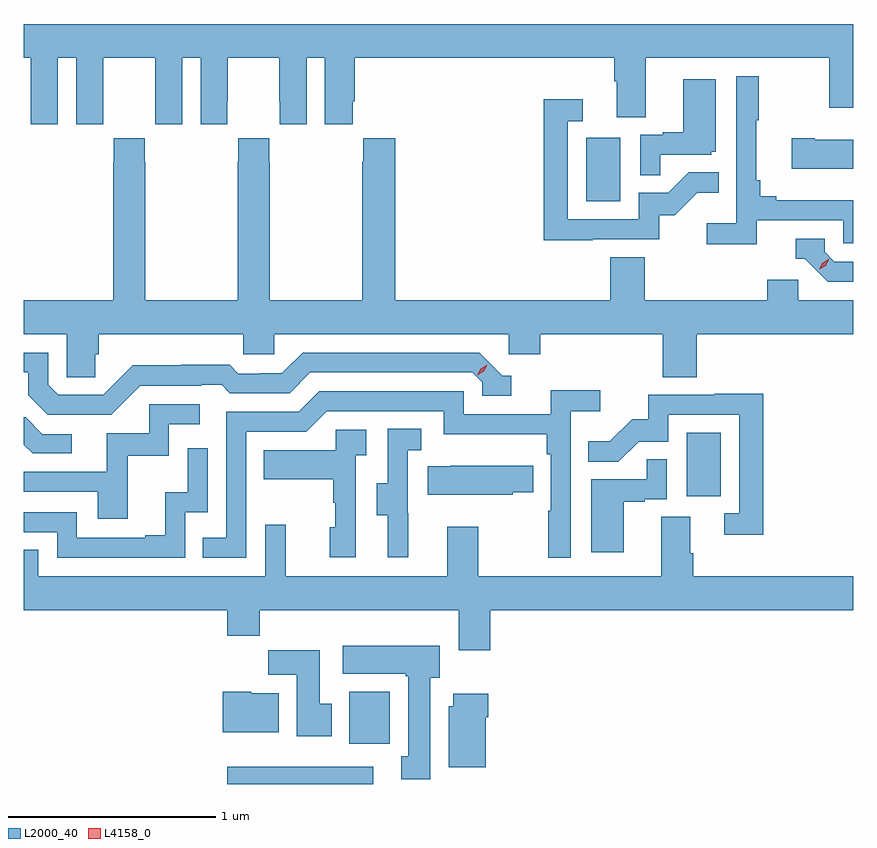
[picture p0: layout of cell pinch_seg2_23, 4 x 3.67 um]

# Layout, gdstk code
import gdstk
lib = gdstk.Library(unit=1e-6, precision=1e-09)
def R(c, l, rs):  # rectangles x0, y0, x1, y1
    for r in rs: c.add(gdstk.rectangle(r[:2], r[2:], *l))
def P(c, l, *ps):  # polygons
    for p in ps: c.add(gdstk.Polygon(p, *l))
L2000_40 = (2000, 40)
L4158_0 = (4158, 0)

pinch_seg2_23 = lib.new_cell('pinch_seg2_23')
R(pinch_seg2_23, L2000_40, [(1082.225,653.458,1082.929,653.542), (1082.813,653.652,1083.009,653.902), (1084.442,654.846,1084.606,655.153), (1083.956,656.268,1084.12,656.575)])
P(pinch_seg2_23, L2000_40, [(1081.408,656.96),(1081.496,656.96),(1081.496,656.64),(1081.626,656.64),(1081.626,656.752),(1081.627,656.752),(1081.627,656.96),(1081.877,656.96),(1081.877,656.752),(1081.878,656.752),(1081.878,656.64),(1082.008,656.64),(1082.008,656.96),(1082.096,656.96),(1082.096,656.64),(1082.226,656.64),(1082.226,656.752),(1082.227,656.752),(1082.227,656.96),(1082.477,656.96),(1082.477,656.752),(1082.478,656.752),(1082.478,656.64),(1082.608,656.64),(1082.608,656.96),(1082.696,656.96),(1082.696,656.64),(1082.83,656.64),(1082.83,656.752),(1082.84,656.752),(1082.84,656.96),(1084.091,656.96),(1084.091,656.848),(1084.103,656.848),(1084.103,656.674),(1084.243,656.674),(1084.243,656.96),(1085.128,656.96),(1085.128,656.721),(1085.244,656.721),(1085.244,657.124),(1081.244,657.124),(1081.244,656.96),(1081.277,656.96),(1081.277,656.752),(1081.278,656.752),(1081.278,656.64),(1081.408,656.64)],
  [(1084.778,656.178),(1085.196,656.178),(1085.196,656.067),(1085.244,656.067),(1085.244,656.275),(1084.873,656.275),(1084.873,656.294),(1084.796,656.294),(1084.796,656.371),(1084.777,656.371),(1084.777,656.659),(1084.789,656.659),(1084.789,656.872),(1084.68,656.872),(1084.68,656.164),(1084.539,656.164),(1084.539,656.062),(1084.778,656.062)],
  [(1084.313,656.493),(1084.56,656.493),(1084.56,656.508),(1084.582,656.508),(1084.582,656.857),(1084.424,656.857),(1084.424,656.602),(1084.325,656.602),(1084.325,656.589),(1084.218,656.589),(1084.218,656.395),(1084.313,656.395)],
  [(1083.989,656.085),(1084.308,656.085),(1084.308,656.202),(1084.384,656.202),(1084.491,656.309),(1084.595,656.309),(1084.595,656.408),(1084.451,656.408),(1084.353,656.31),(1084.209,656.31),(1084.209,656.181),(1083.867,656.181),(1083.867,656.655),(1083.94,656.655),(1083.94,656.761),(1083.751,656.761),(1083.751,656.08),(1083.989,656.08)],
  [(1085.244,656.566),(1085.059,656.566),(1085.059,656.574),(1084.947,656.574),(1084.947,656.426),(1085.244,656.426)],
  [(1081.589,655.53),(1081.604,655.53),(1081.604,655.628),(1082.301,655.628),(1082.301,655.53),(1082.451,655.53),(1082.451,655.628),(1083.582,655.628),(1083.582,655.53),(1083.734,655.53),(1083.734,655.628),(1084.325,655.628),(1084.325,655.42),(1084.49,655.42),(1084.49,655.628),(1085.244,655.628),(1085.244,655.792),(1084.98,655.792),(1084.98,655.89),(1084.829,655.89),(1084.829,655.792),(1084.238,655.792),(1084.238,656),(1084.073,656),(1084.073,655.792),(1083.035,655.792),(1083.035,656.572),(1082.881,656.572),(1082.881,656.459),(1082.875,656.459),(1082.875,655.792),(1082.43,655.792),(1082.43,656.459),(1082.427,656.459),(1082.427,656.572),(1082.277,656.572),(1082.277,656.459),(1082.275,656.459),(1082.275,655.792),(1081.83,655.792),(1081.83,656.459),(1081.827,656.459),(1081.827,656.572),(1081.677,656.572),(1081.677,656.459),(1081.675,656.459),(1081.675,655.792),(1081.244,655.792),(1081.244,655.628),(1081.452,655.628),(1081.452,655.42),(1081.589,655.42)],
  [(1085.244,655.977),(1085.154,655.977),(1085.106,656.025),(1085.106,656.088),(1084.967,656.088),(1084.967,655.992),(1085.01,655.992),(1085.121,655.881),(1085.244,655.881)],
  [(1081.806,655.38),(1082.099,655.38),(1082.099,655.383),(1082.198,655.383),(1082.237,655.344),(1082.526,655.344),(1082.625,655.443),(1083.408,655.443),(1083.456,655.395),(1083.456,655.332),(1083.595,655.332),(1083.595,655.428),(1083.552,655.428),(1083.441,655.539),(1082.588,655.539),(1082.489,655.44),(1082.382,655.44),(1082.382,655.437),(1082.279,655.437),(1082.237,655.48),(1082.004,655.48),(1082.004,655.477),(1081.768,655.477),(1081.626,655.335),(1081.41,655.335),(1081.362,655.383),(1081.362,655.539),(1081.244,655.539),(1081.244,655.443),(1081.265,655.443),(1081.265,655.333),(1081.359,655.239),(1081.665,655.239)],
  [(1082.316,655.158),(1082.607,655.158),(1082.706,655.257),(1083.27,655.257),(1083.27,655.145),(1083.766,655.145),(1083.766,655.049),(1083.786,655.049),(1083.786,654.776),(1083.774,654.776),(1083.774,654.549),(1083.882,654.549),(1083.882,655.256),(1084.024,655.256),(1084.024,655.358),(1083.785,655.358),(1083.785,655.242),(1083.366,655.242),(1083.366,655.353),(1082.669,655.353),(1082.57,655.254),(1082.22,655.254),(1082.22,654.645),(1082.107,654.645),(1082.107,654.549),(1082.316,654.549)],
  [(1084.811,655.34),(1084.573,655.34),(1084.573,655.335),(1084.255,655.335),(1084.255,655.218),(1084.178,655.218),(1084.071,655.111),(1083.967,655.111),(1083.967,655.012),(1084.111,655.012),(1084.209,655.11),(1084.353,655.11),(1084.353,655.239),(1084.695,655.239),(1084.695,654.765),(1084.623,654.765),(1084.623,654.66),(1084.811,654.66)],
  [(1081.745,655.041),(1081.944,655.041),(1081.944,655.194),(1082.092,655.194),(1082.092,655.29),(1081.848,655.29),(1081.848,655.149),(1081.643,655.149),(1081.643,654.963),(1081.244,654.963),(1081.244,654.867),(1081.601,654.867),(1081.601,654.738),(1081.745,654.738)],
  [(1081.474,655.146),(1081.332,655.146),(1081.252,655.226),(1081.244,655.226),(1081.244,655.095),(1081.286,655.053),(1081.474,655.053)],
  [(1083.098,654.765),(1083.096,654.765),(1083.096,655.069),(1083.16,655.069),(1083.16,655.172),(1083,655.172),(1083,654.909),(1082.945,654.909),(1082.945,654.754),(1082.999,654.754),(1082.999,654.552),(1083.098,654.552)],
  [(1082.844,655.043),(1082.896,655.043),(1082.896,655.167),(1082.748,655.167),(1082.748,655.069),(1082.401,655.069),(1082.401,654.929),(1082.736,654.929),(1082.736,654.815),(1082.746,654.815),(1082.746,654.696),(1082.72,654.696),(1082.72,654.552),(1082.844,654.552)],
  [(1082.022,654.768),(1082.13,654.768),(1082.13,655.078),(1082.034,655.078),(1082.034,654.866),(1081.925,654.866),(1081.925,654.658),(1081.829,654.658),(1081.829,654.645),(1081.5,654.645),(1081.5,654.768),(1081.244,654.768),(1081.244,654.672),(1081.404,654.672),(1081.404,654.549),(1082.022,654.549)],
  [(1084.138,654.819),(1084.238,654.819),(1084.238,654.831),(1084.344,654.831),(1084.344,655.025),(1084.249,655.025),(1084.249,654.927),(1083.98,654.927),(1083.98,654.576),(1084.138,654.576)],
  [(1083.603,654.865),(1083.701,654.865),(1083.701,654.994),(1083.301,654.994),(1083.301,654.991),(1083.193,654.991),(1083.193,654.854),(1083.603,654.854)],
  [(1083.494,654.296),(1085.244,654.296),(1085.244,654.46),(1084.472,654.46),(1084.472,654.572),(1084.459,654.572),(1084.459,654.746),(1084.319,654.746),(1084.319,654.46),(1083.435,654.46),(1083.435,654.7),(1083.287,654.7),(1083.287,654.46),(1082.507,654.46),(1082.507,654.709),(1082.409,654.709),(1082.409,654.46),(1081.314,654.46),(1081.314,654.587),(1081.244,654.587),(1081.244,654.296),(1082.225,654.296),(1082.225,654.172),(1082.381,654.172),(1082.381,654.296),(1083.341,654.296),(1083.341,654.102),(1083.494,654.102)],
  [(1083.205,653.97),(1083.25,653.97),(1083.25,654.124),(1082.781,654.124),(1082.781,653.99),(1083.085,653.99),(1083.085,653.977),(1083.098,653.977),(1083.098,653.593),(1083.065,653.593),(1083.065,653.481),(1083.205,653.481)],
  [(1082.728,653.844),(1082.671,653.844),(1082.671,654.103),(1082.422,654.103),(1082.422,653.984),(1082.561,653.984),(1082.561,653.688),(1082.728,653.688)],
  [(1082.473,653.896),(1082.34,653.896),(1082.34,653.902),(1082.204,653.902),(1082.204,653.708),(1082.473,653.708)],
  [(1083.472,653.78),(1083.485,653.78),(1083.485,653.893),(1083.314,653.893),(1083.314,653.832),(1083.293,653.832),(1083.293,653.54),(1083.472,653.54)])
P(pinch_seg2_23, L4158_0, [(1083.431,655.429),(1083.431,655.43),(1083.448,655.462),(1083.479,655.481),(1083.479,655.481),(1083.479,655.481),(1083.463,655.448),(1083.431,655.429)],
  [(1085.081,655.94),(1085.081,655.94),(1085.098,655.973),(1085.129,655.992),(1085.129,655.992),(1085.129,655.992),(1085.112,655.959),(1085.081,655.94)])

lib.write_gds('pinch_seg2_23.gds')
